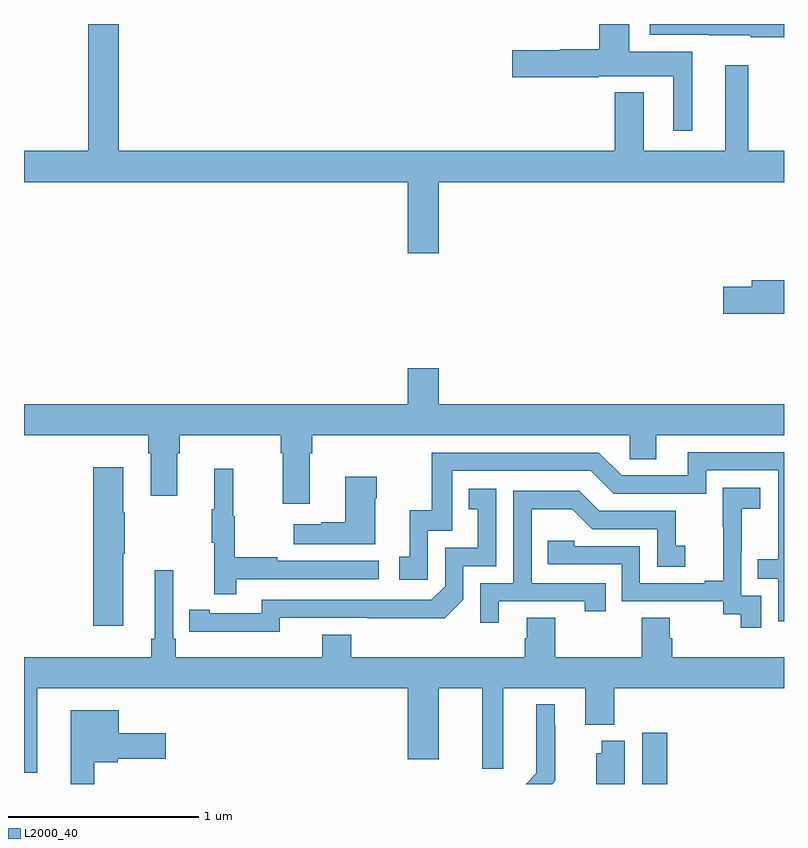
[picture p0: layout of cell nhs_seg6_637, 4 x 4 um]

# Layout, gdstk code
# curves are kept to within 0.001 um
import gdstk
lib = gdstk.Library(unit=1e-6, precision=1e-09)
def R(c, l, rs):  # rectangles x0, y0, x1, y1
    for r in rs: c.add(gdstk.rectangle(r[:2], r[2:], *l))
def P(c, l, *ps):  # polygons
    for p in ps: c.add(gdstk.Polygon(p, *l))
L2000_40 = (2000, 40)

nhs_seg6_637 = lib.new_cell('nhs_seg6_637')
R(nhs_seg6_637, L2000_40, [(154.253,945.5,154.385,945.769)])
P(nhs_seg6_637, L2000_40, [(153.184,948.668),(155,948.668),(155,948.832),(154.813,948.832),(154.813,949.282),(154.691,949.282),(154.691,948.832),(154.261,948.832),(154.261,949.141),(154.109,949.141),(154.109,948.832),(151.499,948.832),(151.499,949.5),(151.343,949.5),(151.343,949.499),(151.339,949.499),(151.339,948.832),(151,948.832),(151,948.668),(153.02,948.668),(153.02,948.294),(153.184,948.294)],
  [(155,949.5),(154.293,949.5),(154.293,949.443),(154.605,949.443),(154.605,949.442),(154.824,949.442),(154.824,949.43),(155,949.43)],
  [(154.516,949.354),(154.186,949.354),(154.186,949.5),(154.028,949.5),(154.028,949.367),(153.819,949.367),(153.819,949.361),(153.57,949.361),(153.57,949.219),(154.025,949.219),(154.025,949.226),(154.418,949.226),(154.418,948.939),(154.516,948.939)],
  [(155,948.152),(154.829,948.152),(154.829,948.116),(154.68,948.116),(154.68,947.974),(155,947.974)],
  [(152.503,947.24),(152.516,947.24),(152.516,947.336),(154.188,947.336),(154.188,947.209),(154.327,947.209),(154.327,947.336),(155,947.336),(155,947.5),(153.184,947.5),(153.184,947.689),(153.02,947.689),(153.02,947.5),(151,947.5),(151,947.336),(151.655,947.336),(151.655,947.24),(151.667,947.24),(151.667,947.016),(151.807,947.016),(151.807,947.24),(151.82,947.24),(151.82,947.336),(152.351,947.336),(152.351,947.24),(152.363,947.24),(152.363,946.974),(152.503,946.974)],
  [(155,947.247),(154.493,947.247),(154.493,947.124),(154.146,947.124),(154.026,947.244),(153.147,947.244),(153.147,946.942),(153.029,946.942),(153.029,946.695),(152.976,946.695),(152.976,946.575),(153.126,946.575),(153.126,946.833),(153.255,946.833),(153.255,947.148),(153.984,947.148),(154.104,947.028),(154.59,947.028),(154.59,947.151),(154.971,947.151),(154.971,946.682),(154.861,946.682),(154.861,946.581),(154.971,946.581),(154.971,946.356),(155,946.356)],
  [(151.522,946.711),(151.53,946.711),(151.53,946.928),(151.522,946.928),(151.522,947.167),(151.364,947.167),(151.364,946.332),(151.522,946.332)],
  [(152.117,946.578),(152.866,946.578),(152.866,946.674),(152.333,946.674),(152.333,946.694),(152.11,946.694),(152.11,946.908),(152.102,946.908),(152.102,947.158),(152,947.158),(152,946.945),(151.989,946.945),(151.989,946.771),(152,946.771),(152,946.5),(152.117,946.5)],
  [(152.848,947.003),(152.856,947.003),(152.856,947.116),(152.69,947.116),(152.69,946.877),(152.564,946.877),(152.564,946.867),(152.421,946.867),(152.421,946.763),(152.848,946.763)],
  [(154.881,946.491),(154.776,946.491),(154.776,946.721),(154.778,946.721),(154.778,946.949),(154.876,946.949),(154.876,947.059),(154.678,947.059),(154.678,946.853),(154.679,946.853),(154.679,946.57),(154.583,946.57),(154.583,946.557),(154.242,946.557),(154.242,946.752),(153.897,946.752),(153.897,946.779),(153.757,946.779),(153.757,946.656),(154.146,946.656),(154.146,946.461),(154.68,946.461),(154.68,946.393),(154.773,946.393),(154.773,946.323),(154.881,946.323)],
  [(152.346,946.374),(153.214,946.373),(153.312,946.47),(153.312,946.647),(153.486,946.647),(153.486,947.053),(153.34,947.053),(153.34,946.947),(153.389,946.947),(153.389,946.743),(153.216,946.743),(153.216,946.542),(153.144,946.47),(152.25,946.47),(152.25,946.398),(151.978,946.398),(151.978,946.418),(151.87,946.418),(151.87,946.302),(152.346,946.301)],
  [(153.499,946.461),(153.95,946.461),(153.95,946.41),(154.061,946.41),(154.061,946.557),(153.672,946.557),(153.672,946.946),(153.886,946.946),(153.99,946.842),(154.332,946.842),(154.332,946.644),(154.48,946.644),(154.48,946.753),(154.431,946.753),(154.431,946.938),(154.027,946.938),(153.922,947.043),(153.576,947.043),(153.576,946.557),(153.402,946.557),(153.402,946.35),(153.499,946.35)],
  [(151.069,946.004),(153.02,946.004),(153.02,945.63),(153.184,945.63),(153.184,946.004),(153.413,946.004),(153.413,945.579),(153.523,945.579),(153.523,946.004),(153.953,946.004),(153.953,945.812),(154.106,945.812),(154.106,946.004),(155,946.004),(155,946.168),(154.412,946.168),(154.412,946.266),(154.399,946.266),(154.399,946.376),(154.252,946.376),(154.252,946.168),(153.795,946.168),(153.795,946.376),(153.647,946.376),(153.647,946.266),(153.635,946.266),(153.635,946.168),(152.723,946.168),(152.723,946.285),(152.57,946.285),(152.57,946.168),(151.799,946.168),(151.799,946.264),(151.785,946.264),(151.785,946.624),(151.688,946.624),(151.688,946.264),(151.669,946.264),(151.669,946.168),(151,946.168),(151,945.56),(151.069,945.56)],
  [(153.797,945.518),(153.797,945.809),(153.793,945.809),(153.793,945.919),(153.695,945.919),(153.695,945.658),(153.696,945.658),(153.696,945.556),(153.64,945.5),(153.779,945.5)],
  [(151.369,945.614),(151.494,945.614),(151.494,945.632),(151.747,945.632),(151.747,945.766),(151.498,945.766),(151.498,945.889),(151.247,945.889),(151.247,945.5),(151.369,945.5)],
  [(154.162,945.727),(154.04,945.727),(154.04,945.663),(154.013,945.663),(154.013,945.5),(154.162,945.5)])

lib.write_gds('nhs_seg6_637.gds')
